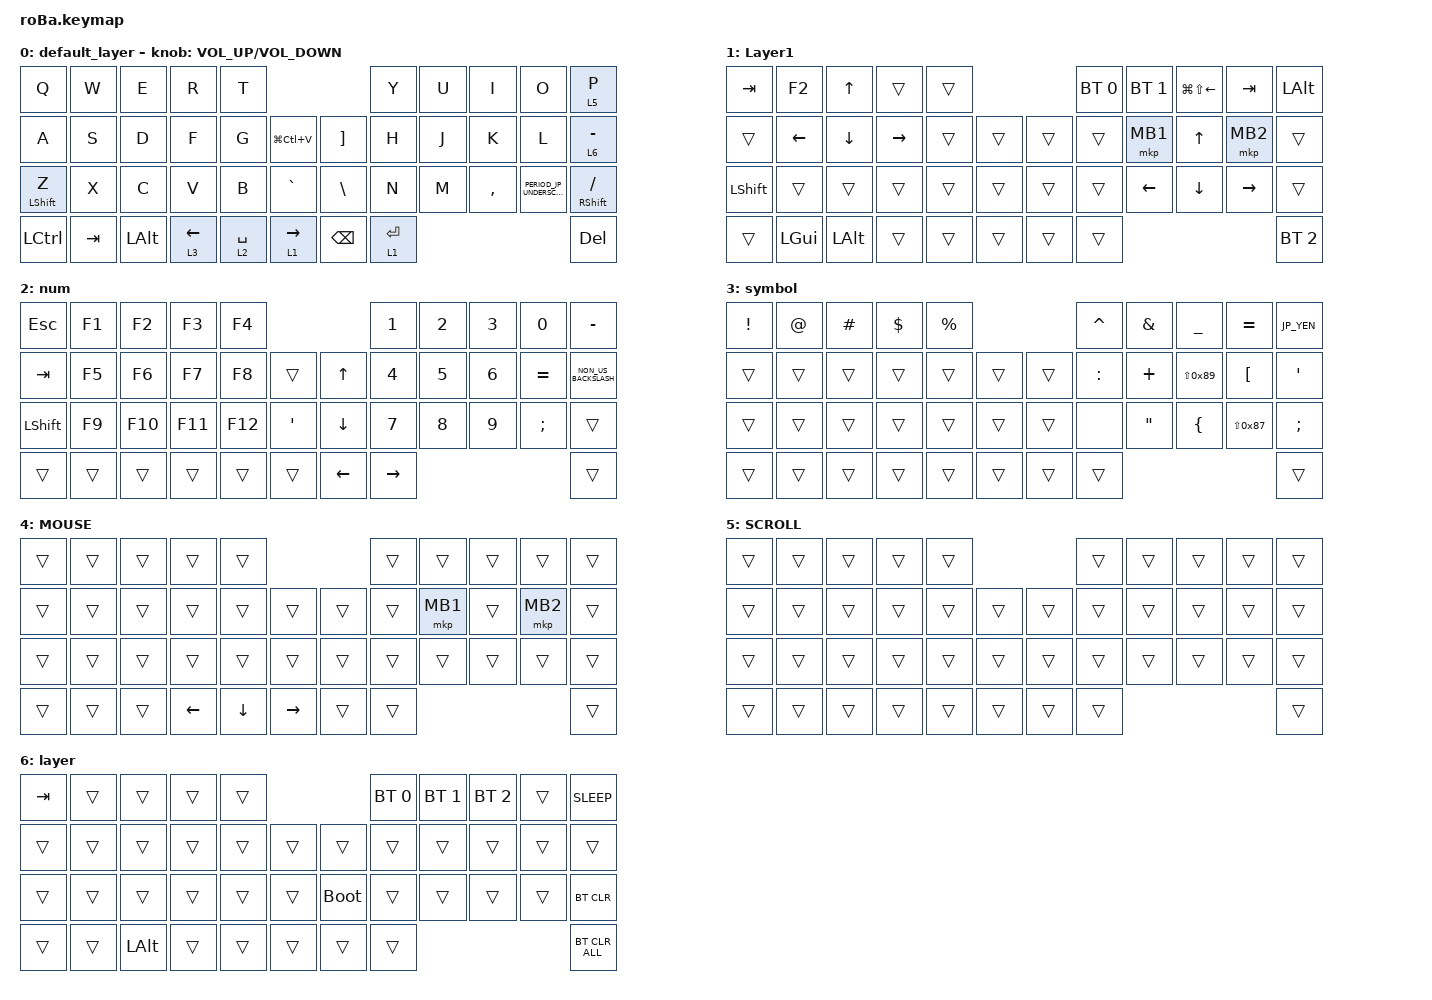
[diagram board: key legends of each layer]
#define JP_DQUOTE       AT                // "
#define JP_AMPERSAND    CARET             // &
#define JP_QUOTE        AMPERSAND         // '
#define JP_EQUAL        UNDER             // =
#define JP_CARET        EQUAL             // ^
#define JP_YEN          0x89              // ¥
#define JP_PLUS         COLON             // +
#define JP_TILDE        PLUS              // ~
#define JP_PIPE         LS(0x89)          // |
#define JP_AT           LEFT_BRACKET      // @
#define JP_COLON        SINGLE_QUOTE      // :
#define JP_ASTERISK     DOUBLE_QUOTES     // *
#define JP_BACKQUOTE    LEFT_BRACE        // `
#define JP_UNDERSCORE   LS(0x87)          // _
#define JP_LBRACKET     RIGHT_BRACKET     // [
#define JP_RBRACKET     BACKSLASH         // ]
#define JP_LPAREN       ASTERISK          // (
#define JP_RPAREN       LEFT_PARENTHESIS  // )
#define JP_LBRACE       RIGHT_BRACE       // {
#define JP_RBRACE       PIPE              // }
#define JP_KANA         LANGUAGE_1        // かな
#define JP_EISU         LANGUAGE_2        // 英数
#define JP_HANZEN       GRAVE             // 半角/全角

#include <behaviors.dtsi>
#include <dt-bindings/zmk/bt.h>
#include <dt-bindings/zmk/keys.h>
#include <dt-bindings/zmk/pointing.h>

&mt {
    flavor = "balanced";
    quick-tap-ms = <0>;
};

&trackball {
    automouse-layer = <4>;
    scroll-layers = <5>;

    // arrows {
    //     layers = <3>;
    //     bindings =
    //         <&kp RIGHT_ARROW>,
    //         <&kp LEFT_ARROW>,
    //         <&kp UP_ARROW>,
    //         <&kp DOWN_ARROW>;
    //     tick = <10>;
    //     wait-ms = <5>;
    //     tap-ms = <5>;
    // };
};

/ {
    combos { compatible = "zmk,combos"; };

    macros {
        to_layer_0: to_layer_0 {
            compatible = "zmk,behavior-macro-one-param";
            #binding-cells = <1>;
            bindings = <&to 0 &macro_param_1to1 &kp MACRO_PLACEHOLDER>;
            label = "TO_LAYER_0";
        };

        new_macro1: new_macro {
            compatible = "zmk,behavior-macro";
            #binding-cells = <0>;
            bindings = <&mkp MB1 &kp LG(LS(LEFT))>;
            label = "NEW_MACRO";
        };
    };

    behaviors {
        lt_to_layer_0: lt_to_layer_0 {
            compatible = "zmk,behavior-hold-tap";
            label = "LAYER_TAP_TO_0";
            bindings = <&mo>, <&to_layer_0>;

            #binding-cells = <2>;
            tapping-term-ms = <200>;
        };

        PERIOD_JP_UNDERSCORE: PERIOD_JP_UNDERSCORE {
            compatible = "zmk,behavior-mod-morph";
            label = "._";
            bindings = <&kp PERIOD>, <&kp JP_UNDERSCORE>;

            #binding-cells = <0>;
            mods = <(MOD_RSFT)>;
        };
    };

    keymap {
        compatible = "zmk,keymap";

        default_layer {
            bindings = <
&kp Q             &kp W    &kp E         &kp R                        &kp T                                                &kp Y        &kp U  &kp I      &kp O                  &lt 5 P
&kp A             &kp S    &kp D         &kp F                        &kp G        &kp LG(LC(V))          &kp JP_LBRACKET  &kp H        &kp J  &kp K      &kp L                  &lt 6 MINUS
&mt LEFT_SHIFT Z  &kp X    &kp C         &kp V                        &kp B        &kp JP_HANZEN          &kp JP_RBRACKET  &kp N        &kp M  &kp COMMA  &PERIOD_JP_UNDERSCORE  &mt RIGHT_SHIFT SLASH
&kp LCTRL         &kp TAB  &kp LEFT_ALT  &lt_to_layer_0 3 LEFT_ARROW  &lt 2 SPACE  &lt 1 RIGHT_ARROW      &kp BACKSPACE    &lt 1 ENTER                                           &kp DEL
            >;

            sensor-bindings = <&inc_dec_kp C_VOLUME_UP C_VOLUME_DOWN>;
        };

        Layer1 {
            bindings = <
&kp TAB         &kp F2        &kp UP_ARROW    &trans           &trans                      &bt BT_SEL 0  &bt BT_SEL 1  &kp LG(LS(LEFT))  &kp TAB    &kp LEFT_ALT
&trans          &kp LEFT      &kp DOWN_ARROW  &kp RIGHT_ARROW  &trans  &trans      &trans  &trans        &mkp MB1      &kp UP_ARROW      &mkp MB2   &trans
&kp LEFT_SHIFT  &trans        &trans          &trans           &trans  &trans      &trans  &trans        &kp LEFT      &kp DOWN_ARROW    &kp RIGHT  &trans
&trans          &kp LEFT_GUI  &kp LEFT_ALT    &trans           &trans  &trans      &trans  &trans                                                   &bt BT_SEL 2
            >;
        };

        num {
            bindings = <
&kp ESC         &kp F1  &kp F2   &kp F3   &kp F4                                &kp N1           &kp N2  &kp N3  &kp N0         &kp MINUS
&kp TAB         &kp F5  &kp F6   &kp F7   &kp F8   &trans       &kp UP_ARROW    &kp N4           &kp N5  &kp N6  &kp EQUAL      &kp NON_US_BACKSLASH
&kp LEFT_SHIFT  &kp F9  &kp F10  &kp F11  &kp F12  &kp SQT      &kp DOWN_ARROW  &kp N7           &kp N8  &kp N9  &kp SEMICOLON  &trans
&trans          &trans  &trans   &trans   &trans   &trans       &kp LEFT_ARROW  &kp RIGHT_ARROW                                 &trans
            >;
        };

        symbol {
            bindings = <
&kp EXCLAMATION  &kp JP_DQUOTE  &kp HASH  &kp DOLLAR  &kp PERCENT                      &kp JP_AMPERSAND  &kp JP_QUOTE     &kp JP_EQUAL      &kp JP_CARET       &kp JP_YEN
&trans           &trans         &trans    &trans      &trans       &trans      &trans  &kp JP_PLUS       &kp JP_TILDE     &kp JP_PIPE       &kp JP_AT          &kp JP_COLON
&trans           &trans         &trans    &trans      &trans       &trans      &trans  &none             &kp JP_ASTERISK  &kp JP_BACKQUOTE  &kp JP_UNDERSCORE  &kp SEMICOLON
&trans           &trans         &trans    &trans      &trans       &trans      &trans  &trans                                                                  &trans
            >;
        };

        MOUSE {
            bindings = <
&trans  &trans  &trans  &trans          &trans                                       &trans  &trans    &trans  &trans    &trans
&trans  &trans  &trans  &trans          &trans          &trans               &trans  &trans  &mkp MB1  &trans  &mkp MB2  &trans
&trans  &trans  &trans  &trans          &trans          &trans               &trans  &trans  &trans    &trans  &trans    &trans
&trans  &trans  &trans  &kp LEFT_ARROW  &kp DOWN_ARROW  &kp RIGHT_ARROW      &trans  &trans                              &trans
            >;
        };

        SCROLL {
            bindings = <
&trans  &trans  &trans  &trans  &trans                      &trans  &trans  &trans  &trans  &trans
&trans  &trans  &trans  &trans  &trans  &trans      &trans  &trans  &trans  &trans  &trans  &trans
&trans  &trans  &trans  &trans  &trans  &trans      &trans  &trans  &trans  &trans  &trans  &trans
&trans  &trans  &trans  &trans  &trans  &trans      &trans  &trans                          &trans
            >;
        };

        layer {
            bindings = <
&kp TAB  &trans  &trans        &trans  &trans                           &bt BT_SEL 0  &bt BT_SEL 1  &bt BT_SEL 2  &trans  &kp K_SLEEP
&trans   &trans  &trans        &trans  &trans  &trans      &trans       &trans        &trans        &trans        &trans  &trans
&trans   &trans  &trans        &trans  &trans  &trans      &bootloader  &trans        &trans        &trans        &trans  &bt BT_CLR
&trans   &trans  &kp LEFT_ALT  &trans  &trans  &trans      &trans       &trans                                            &bt BT_CLR_ALL
            >;
        };
    };
};
